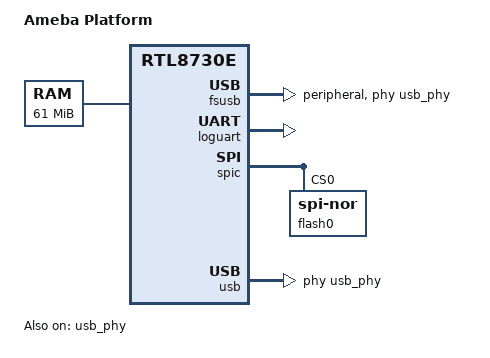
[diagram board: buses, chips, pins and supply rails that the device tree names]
// SPDX-License-Identifier: GPL-2.0+
/*
* Realtek DTS for RTL8730E NOR flash chips
*
* Copyright (C) 2023, Realtek Corporation. All rights reserved.
*/

/dts-v1/;

#include <dt-bindings/realtek/ameba_ipc/ameba_ipc_resource.h>

/ {
	model = "Ameba Platform";
	compatible = "realtek,ameba";
	#address-cells = <1>;
	#size-cells = <1>;

	ocp {
		compatible = "simple-bus";
		#address-cells = <1>;
		#size-cells = <1>;
		ranges;

		fsusb: fsusb@40080000 {
			compatible = "realtek,dwc-fastboot";
			reg = <0x40080000 0x20000>;
			g-rx-fifo-size = <512>;
			g-np-tx-fifo-size = <256>;
			g-tx-fifo-size = <128 120>;
			phys = <&usb_phy>;
			phy-names = "usb2-phy";
			dr_mode="peripheral";
			status = "okay";
			u-boot,force-b-session-valid;
		};

		loguart: dwapb@4200c000 {
			compatible = "realtek,amebad2-loguart";
			reg = <0x4200c000 0x100>;
			reg-shift = <2>;
			reg-io-width = <1>;
			clock-frequency = <40000000>;
		};

		otp: otp@0 {
			compatible = "realtek,amebad2-otp";
			reg = <AIPC_SHARED_MEM_ADDR AIPC_SHARED_MEM_SIZE>, // res 0
				<AIPC_REG_TX_DATA AIPC_REG_SIZE>, // res 1
				<AIPC_REG_RX_DATA AIPC_REG_SIZE>, // res 2
				<AIPC_REG_ISR AIPC_REG_SIZE>, // res 3
				<AIPC_REG_IMR AIPC_REG_SIZE>, // res 4
				<AIPC_REG_ICR AIPC_REG_SIZE>; // res 5
		};

		spic: spi@44000000 {
			compatible = "realtek,rxi312";
			#address-cells = <1>;
			#size-cells = <0>;
			bus_num = <2>;
			reg = <0x44000000 0x200>;
			spi-deactivate-delay = <0>;

			flash0: flash@0 {
				compatible = "jedec,spi-nor", "spi-flash";
				reg = <0>;
			};
		};

		usb: usb@40080000 {
			compatible = "realtek,dwc-otg";
			reg = <0x40080000 0x20000>;
			g-rx-fifo-size = <512>;
			g-np-tx-fifo-size = <256>;
			g-tx-fifo-size = <128 120>;
			phys = <&usb_phy 0>;
			phy-names = "usb2-phy";
			status = "okay";
		};

		usb_phy: usb-phy@41000000 {
			compatible = "realtek,amebad2-otg-phy";
			reg = <0x400B0000 0x20>,
				<0x41000060 4>,
				<0x42008000 0x400>;
			#phy-cells = <0>;
			status = "okay";
		};
	};

	memory {
		device_type = "memory";
		reg = <0x60300000 0x3D00000>; // Only cover the DRAM used by uboot. DRAM for kernel can be larger.
	};

	chosen {
		stdout-path = &loguart;
	};
};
